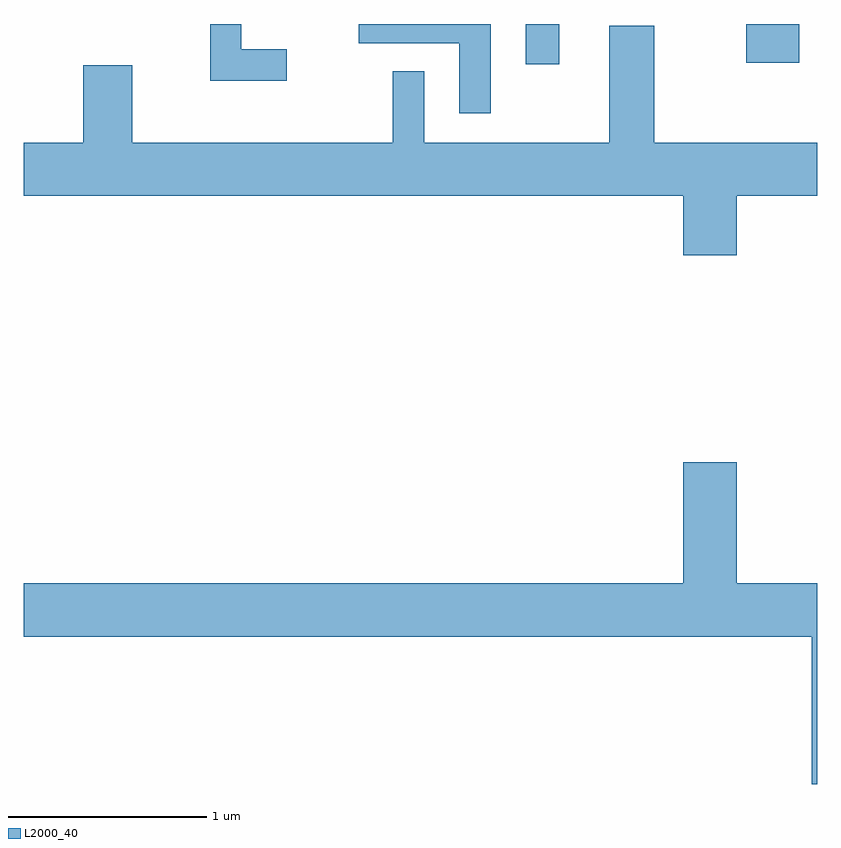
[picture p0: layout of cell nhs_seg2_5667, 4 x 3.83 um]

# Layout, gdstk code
import gdstk
lib = gdstk.Library(unit=1e-6, precision=1e-09)
def R(c, l, rs):  # rectangles x0, y0, x1, y1
    for r in rs: c.add(gdstk.rectangle(r[:2], r[2:], *l))
def P(c, l, *ps):  # polygons
    for p in ps: c.add(gdstk.Polygon(p, *l))
L2000_40 = (2000, 40)

nhs_seg2_5667 = lib.new_cell('nhs_seg2_5667')
R(nhs_seg2_5667, L2000_40, [(354.141,1095.598,354.309,1095.802), (355.251,1095.606,355.519,1095.802)])
P(nhs_seg2_5667, L2000_40, [(353.964,1095.802),(353.301,1095.802),(353.301,1095.706),(353.806,1095.706),(353.806,1095.353),(353.964,1095.353)],
  [(352.938,1095.674),(352.709,1095.674),(352.709,1095.802),(352.551,1095.802),(352.551,1095.516),(352.938,1095.516)],
  [(355.204,1094.936),(355.611,1094.936),(355.611,1095.204),(354.789,1095.204),(354.789,1095.794),(354.561,1095.794),(354.561,1095.204),(353.629,1095.204),(353.629,1095.563),(353.471,1095.563),(353.471,1095.204),(352.159,1095.204),(352.159,1095.594),(351.911,1095.594),(351.911,1095.204),(351.611,1095.204),(351.611,1094.936),(354.936,1094.936),(354.936,1094.636),(355.204,1094.636)],
  [(355.611,1092.984),(355.204,1092.984),(355.204,1093.594),(354.936,1093.594),(354.936,1092.984),(351.611,1092.984),(351.611,1092.716),(355.581,1092.716),(355.581,1091.973),(355.611,1091.973)])

lib.write_gds('nhs_seg2_5667.gds')
